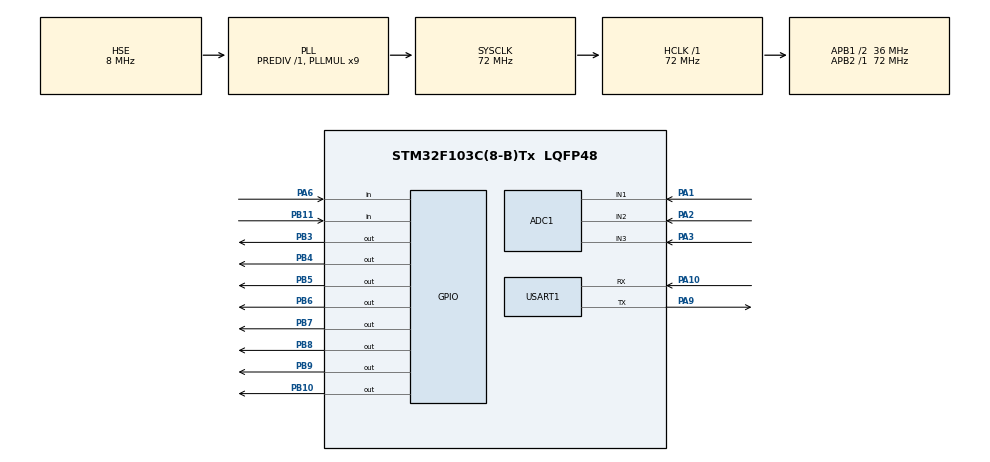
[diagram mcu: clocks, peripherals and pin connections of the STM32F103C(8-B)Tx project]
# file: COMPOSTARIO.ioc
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ADC1.Channel-0\#ChannelRegularConversion=ADC_CHANNEL_1
ADC1.Channel-1\#ChannelRegularConversion=ADC_CHANNEL_2
ADC1.Channel-2\#ChannelRegularConversion=ADC_CHANNEL_3
ADC1.ContinuousConvMode=ENABLE
ADC1.NbrOfConversion=3
ADC1.NbrOfConversionFlag=1
ADC1.Rank-0\#ChannelRegularConversion=1
ADC1.Rank-1\#ChannelRegularConversion=2
ADC1.Rank-2\#ChannelRegularConversion=3
ADC1.SamplingTime-0\#ChannelRegularConversion=ADC_SAMPLETIME_1CYCLE_5
ADC1.SamplingTime-1\#ChannelRegularConversion=ADC_SAMPLETIME_1CYCLE_5
ADC1.SamplingTime-2\#ChannelRegularConversion=ADC_SAMPLETIME_1CYCLE_5
ADC1.master=1
Mcu.Family=STM32F1
Mcu.Name=STM32F103C(8-B)Tx
Mcu.Package=LQFP48
NVIC.PriorityGroup=NVIC_PRIORITYGROUP_4
PA1.Signal=ADCx_IN1
PA10.Mode=Asynchronous
PA10.Signal=USART1_RX
PA13.Mode=Serial_Wire
PA13.Signal=SYS_JTMS-SWDIO
PA14.Mode=Serial_Wire
PA14.Signal=SYS_JTCK-SWCLK
PA2.Signal=ADCx_IN2
PA3.Signal=ADCx_IN3
PA6.GPIO_PuPd=GPIO_PULLUP
PA6.Signal=GPIO_Input
PA9.Mode=Asynchronous
PA9.Signal=USART1_TX
PB10.Signal=GPIO_Output
PB11.Signal=GPIO_Input
PB3.Signal=GPIO_Output
PB4.Signal=GPIO_Output
PB5.Signal=GPIO_Output
PB6.Signal=GPIO_Output
PB7.Signal=GPIO_Output
PB8.Signal=GPIO_Output
PB9.Signal=GPIO_Output
PC14-OSC32_IN.Mode=LSE-External-Oscillator
PC14-OSC32_IN.Signal=RCC_OSC32_IN
PC15-OSC32_OUT.Mode=LSE-External-Oscillator
PC15-OSC32_OUT.Signal=RCC_OSC32_OUT
PD0-OSC_IN.Mode=HSE-External-Oscillator
PD0-OSC_IN.Signal=RCC_OSC_IN
PD1-OSC_OUT.Mode=HSE-External-Oscillator
PD1-OSC_OUT.Signal=RCC_OSC_OUT
ProjectManager.HeapSize=0x200
ProjectManager.StackSize=0x400
ProjectManager.TargetToolchain=STM32CubeIDE
RCC.ADCPresc=RCC_ADCPCLK2_DIV6
RCC.AHBFreq_Value=72000000
RCC.APB1CLKDivider=RCC_HCLK_DIV2
RCC.APB1Freq_Value=36000000
RCC.APB1TimFreq_Value=72000000
RCC.APB2Freq_Value=72000000
RCC.APB2TimFreq_Value=72000000
RCC.HCLKFreq_Value=72000000
RCC.PLLMUL=RCC_PLL_MUL9
RCC.PLLSourceVirtual=RCC_PLLSOURCE_HSE
RCC.SYSCLKFreq_VALUE=72000000
RCC.SYSCLKSource=RCC_SYSCLKSOURCE_PLLCLK
RCC.USBFreq_Value=72000000
SH.ADCx_IN1.0=ADC1_IN1,IN1
SH.ADCx_IN2.0=ADC1_IN2,IN2
SH.ADCx_IN3.0=ADC1_IN3,IN3
TIM1.Period=0xffff-1
TIM1.Prescaler=71
USART1.VirtualMode=VM_ASYNC
VP_TIM1_VS_ClockSourceINT.Mode=Internal
board=custom

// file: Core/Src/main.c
/* USER CODE BEGIN Header */
/**
  ******************************************************************************
  * @file           : main.c
  * @brief          : Main program body
  ******************************************************************************
  * @attention
  *
  * <h2><center>&copy; Copyright (c) 2022 STMicroelectronics.
  * All rights reserved.</center></h2>
  *
  * This software component is licensed by ST under BSD 3-Clause license,
  * the "License"; You may not use this file except in compliance with the
  * License. You may obtain a copy of the License at:
  *                        opensource.org/licenses/BSD-3-Clause
  *
  ******************************************************************************
  */
/* USER CODE END Header */

#include "main.h"

/* USER CODE BEGIN Includes */
#include "LCD1602.h"
#include "hc-sr04.h"
#include <stdio.h>
#include <string.h>
/* USER CODE END Includes */

ADC_HandleTypeDef hadc1;

TIM_HandleTypeDef htim1;

UART_HandleTypeDef huart1;

void SystemClock_Config(void);
static void MX_GPIO_Init(void);
static void MX_TIM1_Init(void);
static void MX_ADC1_Init(void);
static void MX_USART1_UART_Init(void);

/* USER CODE BEGIN 0 */

int row=0;
int col=0;
uint16_t distance  = 0;
uint32_t adc_value[3];		//to store adc values
uint32_t humidity;		//to store adc values
uint32_t temperature;		//to store adc values
uint32_t sun;		//to store adc values

char dist[5]="";
char temp[5]="";
char hum[5]="";
char sun_exposition[5]="";
char msg[100]="";

char AT[20]="temp=\"Ezequiel\"\r\n";

void ADC_Select_CH1 (void){
	  /** Configure Regular Channel
	  */
	  ADC_ChannelConfTypeDef sConfig = {0};
	  sConfig.Channel = ADC_CHANNEL_1;
	  sConfig.Rank = 1;
	  sConfig.SamplingTime = ADC_SAMPLETIME_1CYCLE_5;
	  if (HAL_ADC_ConfigChannel(&hadc1, &sConfig) != HAL_OK)
	  {
	    Error_Handler();
	  }
}

void ADC_Select_CH2 (void){
	  /** Configure Regular Channel
	  */
	  ADC_ChannelConfTypeDef sConfig = {0};
	  sConfig.Channel = ADC_CHANNEL_2;
	  sConfig.Rank = 1;
	  sConfig.SamplingTime = ADC_SAMPLETIME_1CYCLE_5;
	  if (HAL_ADC_ConfigChannel(&hadc1, &sConfig) != HAL_OK)
	  {
	    Error_Handler();
	  }
}

void ADC_Select_CH3 (void){
	  /** Configure Regular Channel
	  */
	  ADC_ChannelConfTypeDef sConfig = {0};
	  sConfig.Channel = ADC_CHANNEL_3;
	  sConfig.Rank = 1;
	  sConfig.SamplingTime = ADC_SAMPLETIME_1CYCLE_5;
	  if (HAL_ADC_ConfigChannel(&hadc1, &sConfig) != HAL_OK)
	  {
	    Error_Handler();
	  }
}

/* USER CODE END 0 */

int main(void)
{

  /* MCU Configuration--------------------------------------------------------*/

  /* Reset of all peripherals, Initializes the Flash interface and the Systick. */
  HAL_Init();

  /* Configure the system clock */
  SystemClock_Config();

  /* Initialize all configured peripherals */
  MX_GPIO_Init();
  MX_TIM1_Init();
  MX_ADC1_Init();
  MX_USART1_UART_Init();
  /* USER CODE BEGIN 2 */

  HAL_TIM_Base_Start(&htim1);

  lcd_init();
  lcd_put_cur(0, 2);
  lcd_send_string("COMPOSTARIO!");
  HAL_Delay(3000);
  lcd_clear();

  /* USER CODE END 2 */

  /* Infinite loop */
  while (1)
  {

    /* USER CODE BEGIN 3 */

	  //Leen los ADC
	  ADC_Select_CH1();
	  HAL_ADC_Start(&hadc1);
	  HAL_ADC_PollForConversion(&hadc1, 1000);
	  humidity=HAL_ADC_GetValue(&hadc1);
	  HAL_ADC_Stop(&hadc1);

	  ADC_Select_CH2();
	  HAL_ADC_Start(&hadc1);
	  HAL_ADC_PollForConversion(&hadc1, 1000);
	  temperature=HAL_ADC_GetValue(&hadc1);
	  HAL_ADC_Stop(&hadc1);

	  ADC_Select_CH3();
	  HAL_ADC_Start(&hadc1);
	  HAL_ADC_PollForConversion(&hadc1, 1000);
	  sun=HAL_ADC_GetValue(&hadc1);
	  HAL_ADC_Stop(&hadc1);

	  //Lee el Ultrasonido
	  distance=measure_distance();

	  //valores int a string
	  sprintf(dist,"%u",distance);
	  sprintf(hum,"%u",humidity);
	  sprintf(temp,"%u",temperature);
	  sprintf(sun_exposition, "%u",sun);
	  sprintf(msg, "distancia:%u Humedad:%u Temperatura:%u Sol:%u \r\n",distance, humidity, temperature, sun);

	  // Imprimo en pantalla
	  lcd_put_cur(0, 0);
	  lcd_send_string("D:");
	  lcd_put_cur(0, 2);
	  lcd_send_string(dist);

	  lcd_put_cur(0, 6);
	  lcd_send_string("H:");
	  lcd_put_cur(0, 8);
	  lcd_send_string(hum);

	  lcd_put_cur(1, 0);
	  lcd_send_string("T:");
	  lcd_put_cur(1, 2);
	  lcd_send_string(temp);

	  lcd_put_cur(1, 6);
	  lcd_send_string("S:");
	  lcd_put_cur(1, 8);
	  lcd_send_string(sun_exposition);

	  HAL_Delay(1000);
	  //Envío por UART
 	  //HAL_UART_Transmit(&huart1, (uint8_t*)msg, strlen(msg), 300);
 	  HAL_UART_Transmit(&huart1,(uint8_t*)AT, strlen(AT), 300);
 	  HAL_Delay(3000);

	  lcd_clear();
  }
  /* USER CODE END 3 */
}

void SystemClock_Config(void)
{
  RCC_OscInitTypeDef RCC_OscInitStruct = {0};
  RCC_ClkInitTypeDef RCC_ClkInitStruct = {0};
  RCC_PeriphCLKInitTypeDef PeriphClkInit = {0};

  /** Initializes the CPU, AHB and APB busses clocks
  */
  RCC_OscInitStruct.OscillatorType = RCC_OSCILLATORTYPE_HSE;
  RCC_OscInitStruct.HSEState = RCC_HSE_ON;
  RCC_OscInitStruct.HSEPredivValue = RCC_HSE_PREDIV_DIV1;
  RCC_OscInitStruct.HSIState = RCC_HSI_ON;
  RCC_OscInitStruct.PLL.PLLState = RCC_PLL_ON;
  RCC_OscInitStruct.PLL.PLLSource = RCC_PLLSOURCE_HSE;
  RCC_OscInitStruct.PLL.PLLMUL = RCC_PLL_MUL9;
  if (HAL_RCC_OscConfig(&RCC_OscInitStruct) != HAL_OK)
  {
    Error_Handler();
  }
  /** Initializes the CPU, AHB and APB busses clocks
  */
  RCC_ClkInitStruct.ClockType = RCC_CLOCKTYPE_HCLK|RCC_CLOCKTYPE_SYSCLK
                              |RCC_CLOCKTYPE_PCLK1|RCC_CLOCKTYPE_PCLK2;
  RCC_ClkInitStruct.SYSCLKSource = RCC_SYSCLKSOURCE_PLLCLK;
  RCC_ClkInitStruct.AHBCLKDivider = RCC_SYSCLK_DIV1;
  RCC_ClkInitStruct.APB1CLKDivider = RCC_HCLK_DIV2;
  RCC_ClkInitStruct.APB2CLKDivider = RCC_HCLK_DIV1;

  if (HAL_RCC_ClockConfig(&RCC_ClkInitStruct, FLASH_LATENCY_2) != HAL_OK)
  {
    Error_Handler();
  }
  PeriphClkInit.PeriphClockSelection = RCC_PERIPHCLK_ADC;
  PeriphClkInit.AdcClockSelection = RCC_ADCPCLK2_DIV6;
  if (HAL_RCCEx_PeriphCLKConfig(&PeriphClkInit) != HAL_OK)
  {
    Error_Handler();
  }
}

static void MX_ADC1_Init(void)
{

  ADC_ChannelConfTypeDef sConfig = {0};

  /** Common config
  */
  hadc1.Instance = ADC1;
  hadc1.Init.ScanConvMode = ADC_SCAN_ENABLE;
  hadc1.Init.ContinuousConvMode = ENABLE;
  hadc1.Init.DiscontinuousConvMode = DISABLE;
  hadc1.Init.ExternalTrigConv = ADC_SOFTWARE_START;
  hadc1.Init.DataAlign = ADC_DATAALIGN_RIGHT;
  hadc1.Init.NbrOfConversion = 3;
  if (HAL_ADC_Init(&hadc1) != HAL_OK)
  {
    Error_Handler();
  }
  /** Configure Regular Channel
  */
//  sConfig.Channel = ADC_CHANNEL_1;
//  sConfig.Rank = ADC_REGULAR_RANK_1;
//  sConfig.SamplingTime = ADC_SAMPLETIME_1CYCLE_5;
//  if (HAL_ADC_ConfigChannel(&hadc1, &sConfig) != HAL_OK)
//  {
//    Error_Handler();
//  }
//  /** Configure Regular Channel
//  */
//  sConfig.Channel = ADC_CHANNEL_2;
//  sConfig.Rank = ADC_REGULAR_RANK_2;
//  if (HAL_ADC_ConfigChannel(&hadc1, &sConfig) != HAL_OK)
//  {
//    Error_Handler();
//  }
//  /** Configure Regular Channel
//  */
//  sConfig.Channel = ADC_CHANNEL_3;
//  sConfig.Rank = ADC_REGULAR_RANK_3;
//  if (HAL_ADC_ConfigChannel(&hadc1, &sConfig) != HAL_OK)
//  {
//    Error_Handler();
//  }

}

static void MX_TIM1_Init(void)
{

  TIM_ClockConfigTypeDef sClockSourceConfig = {0};
  TIM_MasterConfigTypeDef sMasterConfig = {0};

  htim1.Instance = TIM1;
  htim1.Init.Prescaler = 71;
  htim1.Init.CounterMode = TIM_COUNTERMODE_UP;
  htim1.Init.Period = 0xffff-1;
  htim1.Init.ClockDivision = TIM_CLOCKDIVISION_DIV1;
  htim1.Init.RepetitionCounter = 0;
  htim1.Init.AutoReloadPreload = TIM_AUTORELOAD_PRELOAD_DISABLE;
  if (HAL_TIM_Base_Init(&htim1) != HAL_OK)
  {
    Error_Handler();
  }
  sClockSourceConfig.ClockSource = TIM_CLOCKSOURCE_INTERNAL;
  if (HAL_TIM_ConfigClockSource(&htim1, &sClockSourceConfig) != HAL_OK)
  {
    Error_Handler();
  }
  sMasterConfig.MasterOutputTrigger = TIM_TRGO_RESET;
  sMasterConfig.MasterSlaveMode = TIM_MASTERSLAVEMODE_DISABLE;
  if (HAL_TIMEx_MasterConfigSynchronization(&htim1, &sMasterConfig) != HAL_OK)
  {
    Error_Handler();
  }

}

static void MX_USART1_UART_Init(void)
{

  huart1.Instance = USART1;
  huart1.Init.BaudRate = 115200;
  huart1.Init.WordLength = UART_WORDLENGTH_8B;
  huart1.Init.StopBits = UART_STOPBITS_1;
  huart1.Init.Parity = UART_PARITY_NONE;
  huart1.Init.Mode = UART_MODE_TX_RX;
  huart1.Init.HwFlowCtl = UART_HWCONTROL_NONE;
  huart1.Init.OverSampling = UART_OVERSAMPLING_16;
  if (HAL_UART_Init(&huart1) != HAL_OK)
  {
    Error_Handler();
  }

}

static void MX_GPIO_Init(void)
{
  GPIO_InitTypeDef GPIO_InitStruct = {0};

  /* GPIO Ports Clock Enable */
  __HAL_RCC_GPIOC_CLK_ENABLE();
  __HAL_RCC_GPIOD_CLK_ENABLE();
  __HAL_RCC_GPIOA_CLK_ENABLE();
  __HAL_RCC_GPIOB_CLK_ENABLE();

  /*Configure GPIO pin Output Level */
  HAL_GPIO_WritePin(GPIOB, GPIO_PIN_10|GPIO_PIN_3|GPIO_PIN_4|GPIO_PIN_5
                          |GPIO_PIN_6|GPIO_PIN_7|GPIO_PIN_8|GPIO_PIN_9, GPIO_PIN_RESET);

  /*Configure GPIO pins : PB10 PB3 PB4 PB5
                           PB6 PB7 PB8 PB9 */
  GPIO_InitStruct.Pin = GPIO_PIN_10|GPIO_PIN_3|GPIO_PIN_4|GPIO_PIN_5
                          |GPIO_PIN_6|GPIO_PIN_7|GPIO_PIN_8|GPIO_PIN_9;
  GPIO_InitStruct.Mode = GPIO_MODE_OUTPUT_PP;
  GPIO_InitStruct.Pull = GPIO_NOPULL;
  GPIO_InitStruct.Speed = GPIO_SPEED_FREQ_LOW;
  HAL_GPIO_Init(GPIOB, &GPIO_InitStruct);

  /*Configure GPIO pin : PB11 */
  GPIO_InitStruct.Pin = GPIO_PIN_11;
  GPIO_InitStruct.Mode = GPIO_MODE_INPUT;
  GPIO_InitStruct.Pull = GPIO_NOPULL;
  HAL_GPIO_Init(GPIOB, &GPIO_InitStruct);

}

void Error_Handler(void)
{
}

/************************ (C) COPYRIGHT STMicroelectronics *****END OF FILE****/
